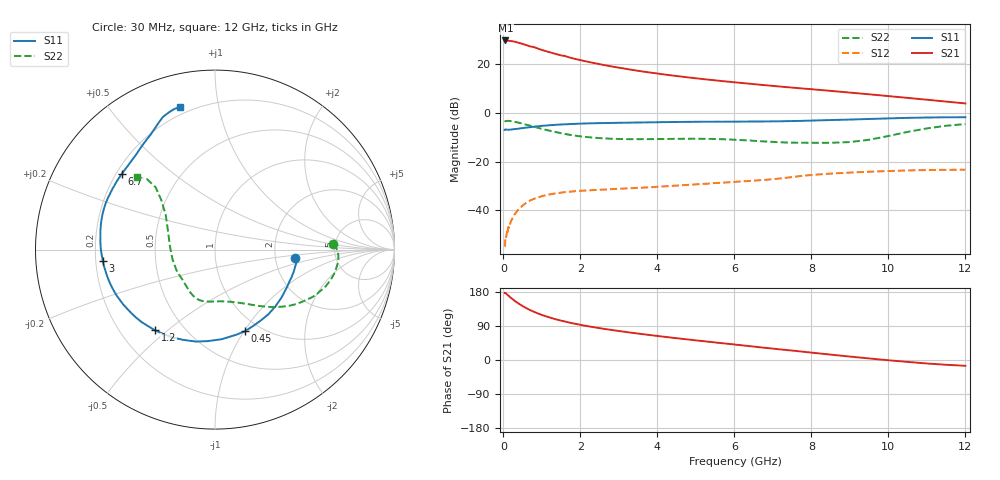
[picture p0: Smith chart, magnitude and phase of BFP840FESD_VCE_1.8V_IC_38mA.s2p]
! Infineon Technologies  Discrete & RF Semiconductors
! BFP840FESD
! VCE =  1.8 V,  IC =  38 mA
! Common Emitter S-Parameters:  May 2012
# GHz  S  MA  R  50
!  f  S11  S21  S12  S22
! GHz  MAG  ANG  MAG  ANG  MAG  ANG  MAG  ANG
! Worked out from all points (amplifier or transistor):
!   103 points, 30 MHz to 12 GHz, reference 50 ohm
!   highest |S21| = 29.9 dB at 50 MHz (marker M1)
!   |S21| within 3 dB of that: start of sweep to 836.7 MHz
!   unconditionally stable (mu >= 1): start of sweep to 272 MHz; 2.499 GHz to end of sweep
!   at 400 MHz: K = 0.81, MSG = 34.2 dB, |S12| = -39.6 dB
!   at 3.7 GHz: K = 1.25, MAG = 20.8 dB, |S12| = -30.7 dB
!   at 12 GHz: K = 1.37, MAG = 10.0 dB, |S12| = -23.4 dB
!   S11 on the Smith chart (normalised r, x): 30 MHz: 2.59, -0.31; 450 MHz: 0.85, -1.01; 1.2 GHz: 0.35, -0.45; 3 GHz: 0.23, -0.05; 6.7 GHz: 0.22, +0.34; 12 GHz: 0.16, +0.77
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0.03  0.4496 -6.0  30.67 176.9  0.0018 72.1  0.6584 2.7
0.04  0.45 -7.7  30.74 176.3  0.0018 69.4  0.6689 1.7
0.05  0.4589 -9.4  31.29 177.1  0.0026 53.5  0.6767 0.6
0.2  0.4568 -35.6  30.41 163.4  0.006 65.1  0.6799 -10.8
0.25  0.4619 -43.3  29.95 159.6  0.0071 65.3  0.669 -13.8
0.35  0.4706 -57.8  28.66 151.9  0.0094 63.7  0.6451 -19.4
0.45  0.4845 -70.0  27.28 145.2  0.0113 61.1  0.618 -24.0
0.6  0.501 -85.9  24.99 136.6  0.0143 56.9  0.5719 -30.1
0.7  0.5117 -94.8  23.56 131.4  0.0158 54.2  0.5454 -33.8
0.8  0.5232 -101.6  22.74 126.9  0.0171 51.7  0.5196 -37.0
1  0.5439 -115.9  19.91 118.8  0.0193 47.5  0.4719 -42.7
1.2  0.5602 -126.6  17.88 112.3  0.021 44.0  0.4317 -47.6
1.5  0.5804 -139.3  15.37 103.8  0.0229 40.3  0.3832 -54.1
1.8  0.5958 -149.2  13.39 96.8  0.0242 37.8  0.3478 -60.4
2.1  0.6076 -157.2  11.81 90.8  0.0252 36.5  0.3235 -66.2
3  0.6287 -174.2  8.573 76.5  0.0275 35.7  0.2917 -81.2
4.1  0.6477 170.2  6.347 62.2  0.0305 38.0  0.2913 -96.0
6.1  0.6642 147.9  4.231 39.8  0.0385 41.8  0.2788 -118.2
6.7  0.6693 140.7  3.806 33.2  0.0414 43.2  0.2614 -126.6
8.5  0.7158 123.1  2.858 14.2  0.0564 39.7  0.243 -167.0
10.5  0.7942 111.4  2.049 -5.0  0.0655 30.3  0.4084 137.2
12  0.8182 103.8  1.574 -15.3  0.0679 26.2  0.5914 136.9
